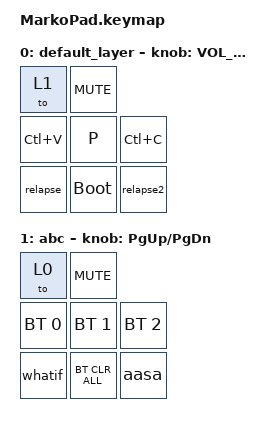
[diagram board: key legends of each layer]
#include <behaviors.dtsi>
#include <dt-bindings/zmk/keys.h>
#include <dt-bindings/zmk/bt.h>

/ {
    macros {
        relapse: relapse {
            compatible = "zmk,behavior-macro";
            #binding-cells = <0>;
            wait-ms = <40>;
            tap-ms = <20>;
            bindings = 
                <&kp K &kp U &kp N &kp G &kp SPACE
                   &kp P &kp A &kp N &kp A &kp L &kp A &kp N &kp G &kp I &kp N &kp SPACE
                   &kp K &kp O &kp Y &kp SPACE &kp D &kp I &kp SPACE
                   &kp M &kp A &kp R &kp I &kp N &kp I &kp G>;
        };
        relapse2: relapse2 {
            compatible = "zmk,behavior-macro";
            #binding-cells = <0>;
            wait-ms = <40>;
            tap-ms = <20>;
            bindings = 
                <&kp T &kp A &kp T &kp L &kp O &kp N &kp G &kp SPACE
                 &kp B &kp I &kp L &kp Y &kp O &kp N &kp COMMA &kp SPACE
                 &kp I &kp K &kp A &kp W &kp SPACE
                 &kp L &kp A &kp N &kp G &kp SPACE
                 &kp N &kp G &kp A &kp SPACE
                 &kp A &kp N &kp G &kp SPACE
                 &kp A &kp K &kp I &kp N &kp G &kp SPACE
                 &kp G &kp U &kp S &kp T &kp O>;
        };
        whatif: whatif {
            compatible = "zmk,behavior-macro";
            #binding-cells = <0>;
            wait-ms = <40>;
            tap-ms = <20>;
            bindings = 
                <&kp W &kp H &kp A &kp T &kp SPACE
                 &kp I &kp F &kp SPACE
                 &kp B &kp U &kp M &kp A &kp L &kp I &kp K &kp SPACE
                 &kp A &kp N &kp G &kp SPACE
                 &kp G &kp R &kp E &kp A &kp T &kp E &kp S &kp T &kp SPACE
                 &kp W &kp H &kp A &kp T &kp SPACE
                 &kp I &kp F &kp SPACE
                 &kp M &kp O>;
        };
        aasa: aasa {
            compatible = "zmk,behavior-macro";
            #binding-cells = <0>;
            wait-ms = <40>;
            tap-ms = <20>;
            bindings = 
                <&kp A &kp A &kp S &kp A &kp SPACE
                 &kp H &kp A &kp N &kp G &kp G &kp A &kp T &kp SPACE
                 &kp K &kp A &kp Y &kp A &kp SPACE
                 &kp P &kp A>;
        };
    };

    keymap {
        compatible = "zmk,keymap";

        default_layer { // Layer 0
// ----------------------------------------------
// |      Z      |        M       |      K      |
// |    &mo 1    |   LEFT SHIFT   |    &mo 2    |
            bindings = <
                &to 1 &kp C_MUTE
                &kp LC(V)    &kp P       &kp LC(C)
                &relapse    &bootloader  &relapse2
            >;
            sensor-bindings = <&inc_dec_kp C_VOLUME_UP C_VOLUME_DOWN>;
        };
        abc { // Layer 1
// ----------------------------------------------
// |      A      |       B       |       C      |
// |    &trans   |    &trans     |     &trans   |
            bindings = <
                &to 0 &kp C_MUTE
                &bt BT_SEL 0     &bt BT_SEL 1     &bt BT_SEL 2
                &whatif    &bt BT_CLR_ALL    &aasa
            >;
            sensor-bindings = <&inc_dec_kp PG_UP PG_DN>;
        };
    };
};
